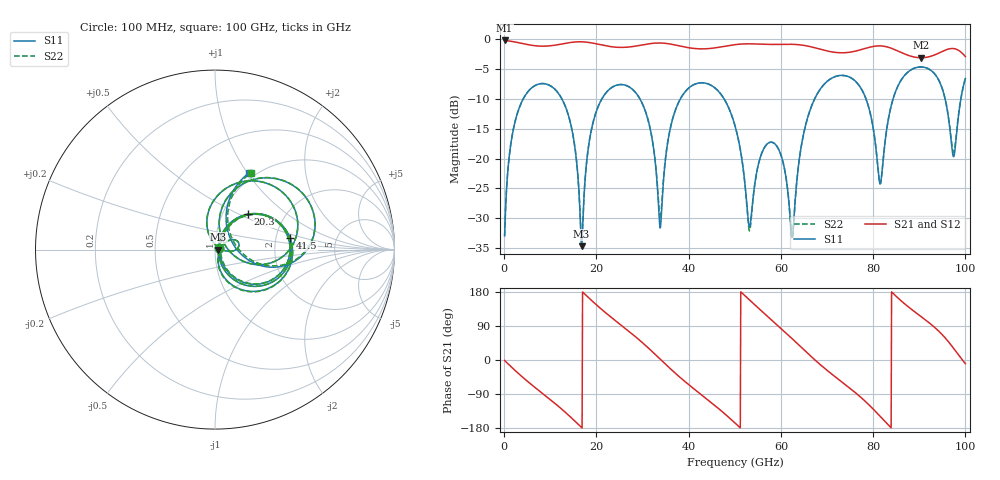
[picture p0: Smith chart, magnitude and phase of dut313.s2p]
! Touchstone file exported from HFSS 2026.1.0
!  File:  C:/ffzhzh/LocalFiles/Ansys_Project_Files/temp_train_TSV_RDL_313_1783699410_45496.aedt
!  Generated:  12:13:25 AM Jul 11, 2026
!  Design:  TSV_RDL
!  Project:  temp_train_TSV_RDL_313_1783699410_45496
! Variables:
!  h_bsmrdl = 2.08um
!  h_ox = 20um
!  h_rdl = 5um
!  h_sub = 64.55um
!  h_tmrdl = 3.09um
!  h_tsv = 64.55um
!  h_via = 3um
!  l_bsmrdl = 488.81um
!  l_sub = 3648.36um
!  l_tmrdl = 410um
!  m_sub = 200um
!  pitch = 42.33um
!  r_tsv = 9.35um
!  s_tmrdl = 10um
!  w_bsmrdl = 22.71um
!  w_sub = 500um
!  w_tmrdl = 24.6um
!  x_tsv_center1 = 422.3um
!  x_tsv_center2 = 933.82um
!  x_tsv_center3 = 1368.42um
!  x_tsv_center4 = 1879.94um
!  x_tsv_center5 = 2314.54um
!  x_tsv_center6 = 2826.06um
# GHz S MA R 50.000000
! Terminal data exported
! Port[1] = TM_RDL1_1_T1
! Port[2] = TM_RDL5_1_T1
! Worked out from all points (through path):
!   1000 points, 100 MHz to 100 GHz, reference 50 ohm
!   highest |S21| = -0.17 dB at 100 MHz (marker M1); lowest = -3.1 dB at 90.4 GHz (marker M2)
!   group delay of S21, straight-line fit = 29.7 ps
!   lowest |S11| = -34.7 dB at 16.8 GHz (marker M3), VSWR 1.04, Z = 51.9 + j0.0224 ohm
!   |S11| at or under -10 dB: 12.53 GHz to 21.17 GHz (8.644 GHz wide, 51.3 % of centre); 29.45 GHz to 38.19 GHz (8.747 GHz wide, 25.9 % of centre); 47.7 GHz to 67.3 GHz (19.61 GHz wide, 34.1 % of centre) (the widest 3 of 6)
!   |S22| runs from -33.9 to -4.6 dB; largest |S21 - S12| = 2.7e-12
!   S11 on the Smith chart (normalised r, x): 100 MHz: 1.04, +0.02; 20.3 GHz: 1.31, +0.56; 41.5 GHz: 2.40, +0.38; 100 GHz: 0.93, +1.02
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0.1  0.02247 26.7  0.9801 -1.3  0.9801 -1.3  0.02247 26.7
! Gamma 0 0 0 0
! Port Impedance 50 0 50 0
2.7  0.2282 51.9  0.9463 -31.3  0.9463 -31.3  0.2282 51.9
8.4  0.426 -1.4  0.8774 -89.0  0.8774 -89.0  0.426 -1.2
14  0.2258 -54.4  0.9374 -146.1  0.9374 -146.1  0.2259 -54.0
16.8  0.01841 0.7  0.9549 -178.2  0.9549 -178.2  0.02008 0.7
20.3  0.2682 47.3  0.9127 142.4  0.9127 142.4  0.2684 47.1
29.1  0.3328 -33.9  0.8872 55.0  0.8872 55.0  0.333 -33.4
33.4  0.0449 -49.1  0.9332 7.3  0.9332 7.3  0.04783 -44.4
36.9  0.2404 50.8  0.901 -32.6  0.901 -32.6  0.241 49.6
41.5  0.4233 8.8  0.8374 -79.5  0.8374 -79.5  0.4236 8.2
50.1  0.1857 -68.8  0.9044 -166.8  0.9044 -166.8  0.1856 -69.7
53.1  0.02706 -29.5  0.9183 159.4  0.9183 159.4  0.02526 -30.7
58  0.1372 13.0  0.9075 105.6  0.9075 105.6  0.1371 13.2
62.4  0.02179 45.5  0.9097 56.7  0.9097 56.7  0.02136 45.1
66.7  0.2793 90.5  0.8637 7.6  0.8637 7.6  0.279 90.8
76.7  0.4231 1.3  0.8072 -91.8  0.8072 -91.8  0.4232 1.5
81.5  0.06135 26.7  0.8826 -148.5  0.8826 -148.5  0.06136 26.7
83.4  0.225 80.8  0.8569 -172.8  0.8569 -172.8  0.2248 81.1
90.4  0.5872 23.8  0.7017 114.5  0.7017 114.5  0.5873 24.2
94.7  0.4139 -11.6  0.7829 70.4  0.7829 70.4  0.4152 -10.6
97.4  0.1037 23.3  0.8382 31.4  0.8382 31.4  0.1128 23.8
100  0.4696 65.9  0.7184 -9.7  0.7184 -9.7  0.4715 65.0
